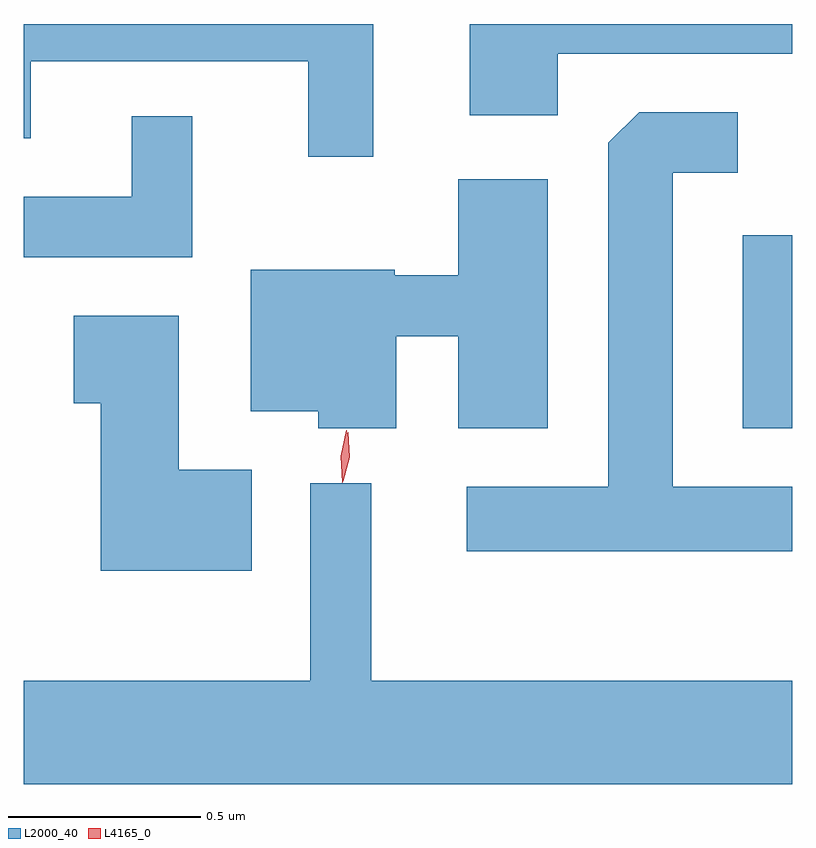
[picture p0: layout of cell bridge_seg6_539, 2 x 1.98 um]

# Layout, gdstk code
import gdstk
lib = gdstk.Library(unit=1e-6, precision=1e-09)
def R(c, l, rs):  # rectangles x0, y0, x1, y1
    for r in rs: c.add(gdstk.rectangle(r[:2], r[2:], *l))
def P(c, l, *ps):  # polygons
    for p in ps: c.add(gdstk.Polygon(p, *l))
L2000_40 = (2000, 40)
L4165_0 = (4165, 0)

bridge_seg6_539 = lib.new_cell('bridge_seg6_539')
R(bridge_seg6_539, L2000_40, [(883.881,1597.581,884.01,1598.084)])
P(bridge_seg6_539, L2000_40, [(883.399,1598.556),(884.01,1598.556),(884.01,1598.633),(883.171,1598.633),(883.171,1598.396),(883.399,1598.396)],
  [(882.919,1598.633),(882.01,1598.633),(882.01,1598.336),(882.029,1598.336),(882.029,1598.536),(882.751,1598.536),(882.751,1598.288),(882.919,1598.288)],
  [(884.01,1597.429),(883.699,1597.429),(883.699,1598.246),(883.868,1598.246),(883.868,1598.404),(883.612,1598.404),(883.531,1598.324),(883.531,1597.429),(883.163,1597.429),(883.163,1597.261),(884.01,1597.261)],
  [(882.449,1598.393),(882.291,1598.393),(882.291,1598.184),(882.01,1598.184),(882.01,1598.026),(882.449,1598.026)],
  [(882.979,1597.821),(883.141,1597.821),(883.141,1597.581),(883.374,1597.581),(883.374,1598.229),(883.141,1598.229),(883.141,1597.979),(882.975,1597.979),(882.975,1597.994),(882.601,1597.994),(882.601,1597.626),(882.776,1597.626),(882.776,1597.581),(882.979,1597.581)],
  [(882.604,1597.474),(882.414,1597.474),(882.414,1597.874),(882.141,1597.874),(882.141,1597.646),(882.211,1597.646),(882.211,1597.211),(882.604,1597.211)],
  [(884.01,1596.924),(882.914,1596.924),(882.914,1597.438),(882.756,1597.438),(882.756,1596.924),(882.01,1596.924),(882.01,1596.656),(884.01,1596.656)])
P(bridge_seg6_539, L4165_0, [(882.839,1597.44),(882.839,1597.441),(882.835,1597.509),(882.85,1597.576),(882.85,1597.576),(882.851,1597.576),(882.855,1597.507),(882.84,1597.441)],
  [(882.841,1597.443),(882.841,1597.444),(882.837,1597.508),(882.853,1597.571),(882.854,1597.571),(882.854,1597.571),(882.858,1597.506),(882.842,1597.444)])

lib.write_gds('bridge_seg6_539.gds')
